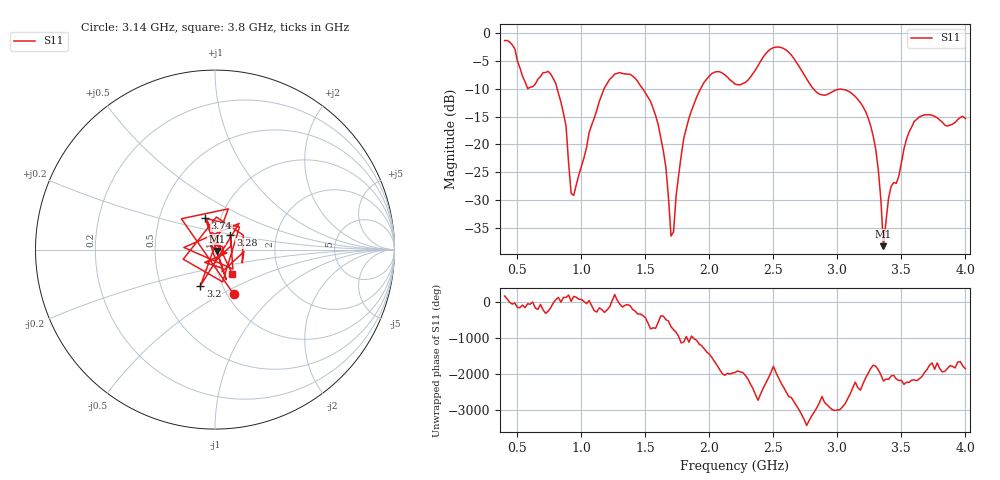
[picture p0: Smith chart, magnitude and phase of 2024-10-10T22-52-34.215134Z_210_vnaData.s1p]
! Created with skrf (http://scikit-rf.org).
# Hz S RI R 50.0
!freq ReS11 ImS11
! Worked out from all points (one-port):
!   181 points, 400 MHz to 4 GHz, reference 50 ohm
!   lowest |S11| = -38.3 dB at 3.36 GHz (marker M1), VSWR 1.02, Z = 51 - j0.709 ohm
!   |S11| at or under -10 dB: 811.3 MHz to 1.177 GHz (365.4 MHz wide, 36.8 % of centre); 1.481 GHz to 1.931 GHz (450.1 MHz wide, 26.4 % of centre); 2.813 GHz to end of sweep
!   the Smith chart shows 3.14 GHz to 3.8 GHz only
!   S11 on the Smith chart (normalised r, x): 3.14 GHz: 1.07, -0.58; 3.2 GHz: 0.79, -0.33; 3.28 GHz: 1.17, +0.19; 3.74 GHz: 0.85, +0.31; 3.8 GHz: 1.16, -0.32
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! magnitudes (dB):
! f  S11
! 400 MHz  -1.3
! 580 MHz  -9.9
! 760 MHz  -7.3
! 860 MHz  -14.4
! 940 MHz  -29.2
! 1.16 GHz  -11.0
! 1.3 GHz  -7.0
! 1.58 GHz  -14.8
! 1.66 GHz  -24.1
! 1.7 GHz  -36.5
! 1.76 GHz  -25.5
! 1.84 GHz  -15.3
! 1.96 GHz  -8.7
! 2.2 GHz  -9.1
! 2.5 GHz  -2.6
! 2.66 GHz  -4.5
! 2.86 GHz  -10.9
! 3.1 GHz  -10.6
! 3.14 GHz  -11.4
! 3.2 GHz  -13.2
! 3.28 GHz  -18.5
! 3.32 GHz  -24.7
! 3.36 GHz  -38.3
! 3.42 GHz  -27.5
! 3.56 GHz  -17.8
! 3.74 GHz  -14.7
! 3.8 GHz  -15.6
! 4 GHz  -15.3
